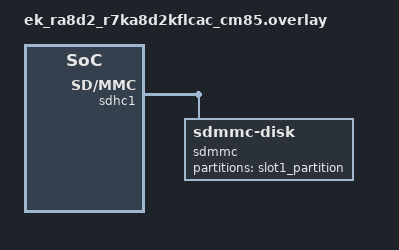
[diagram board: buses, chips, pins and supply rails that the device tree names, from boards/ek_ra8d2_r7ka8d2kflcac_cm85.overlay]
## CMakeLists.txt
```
# SPDX-License-Identifier: Apache-2.0

cmake_minimum_required(VERSION 3.20.0)
find_package(Zephyr REQUIRED HINTS $ENV{ZEPHYR_BASE})
project(ext2tests)

FILE(GLOB app_sources src/*.c)
FILE(GLOB common_sources
  ../common/test_fs_util.c
  ../common/test_fs_mkfs.c
  ../common/test_fs_basic.c
  ../common/test_fs_dirops.c
  ../common/test_fs_open_flags.c
  ../common/test_fs_mount_flags.c
)
target_sources(app PRIVATE
  ${app_sources}
  ${common_sources}
)
```

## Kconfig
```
# SPDX-License-Identifier: Apache-2.0
# Copyright (c) 2023 Antmicro

mainmenu "Ext2 tests"

source "Kconfig.zephyr"

config APP_TEST_BIG
	bool "Make tests with larger file systems"
```

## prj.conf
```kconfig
CONFIG_FILE_SYSTEM=y
CONFIG_FILE_SYSTEM_EXT2=y
CONFIG_FILE_SYSTEM_MKFS=y
CONFIG_FS_DIRENT_EXT=y

CONFIG_DISK_ACCESS=y

CONFIG_TEST_RANDOM_GENERATOR=y

CONFIG_ZTEST=y
CONFIG_ZTEST_STACK_SIZE=4096
```

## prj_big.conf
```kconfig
CONFIG_FILE_SYSTEM=y
CONFIG_FILE_SYSTEM_EXT2=y
CONFIG_FILE_SYSTEM_MKFS=y
CONFIG_FS_DIRENT_EXT=y

CONFIG_DISK_ACCESS=y

CONFIG_EXT2_MAX_BLOCK_COUNT=20

CONFIG_TEST_RANDOM_GENERATOR=y

CONFIG_ZTEST=y
CONFIG_ZTEST_STACK_SIZE=4096

CONFIG_APP_TEST_BIG=y
```

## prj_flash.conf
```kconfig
CONFIG_FILE_SYSTEM=y
CONFIG_FILE_SYSTEM_EXT2=y
CONFIG_FILE_SYSTEM_MKFS=y

CONFIG_DISK_ACCESS=y

CONFIG_TEST_RANDOM_GENERATOR=y

CONFIG_ZTEST=y
CONFIG_ZTEST_STACK_SIZE=4096
```

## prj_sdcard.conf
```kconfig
CONFIG_FILE_SYSTEM=y
CONFIG_FILE_SYSTEM_EXT2=y
CONFIG_FILE_SYSTEM_MKFS=y

CONFIG_SPI=y

CONFIG_DISK_ACCESS=y

CONFIG_EXT2_DISK_STARTING_SECTOR=34

CONFIG_TEST_RANDOM_GENERATOR=y

CONFIG_ZTEST=y
CONFIG_ZTEST_STACK_SIZE=4096
```

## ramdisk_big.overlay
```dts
/*
 * Copyright (c) 2023 Nordic Semiconductor ASA
 *
 * SPDX-License-Identifier: Apache-2.0
 */

/ {
	ramdisk0 {
		compatible = "zephyr,ram-disk";
		disk-name = "RAM";
		sector-size = <512>;
		sector-count = <18000>;
	};
};
```

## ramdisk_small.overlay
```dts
/*
 * Copyright (c) 2023 Nordic Semiconductor ASA
 *
 * SPDX-License-Identifier: Apache-2.0
 */

/ {
	ramdisk0 {
		compatible = "zephyr,ram-disk";
		disk-name = "RAM";
		sector-size = <512>;
		sector-count = <220>;
	};
};
```

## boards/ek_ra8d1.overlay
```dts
/*
 * Copyright (c) 2024 Renesas Electronics Corporation
 * SPDX-License-Identifier: Apache-2.0
 */

&sdhc1 {
	sdmmc {
		partition {
			compatible = "fixed-partitions";
			#address-cells = <1>;
			#size_cells = <1>;

			slot1_partition: partition@0 {
				reg = <0x00000000 0x800000>;
			};
		};
	};
};
```

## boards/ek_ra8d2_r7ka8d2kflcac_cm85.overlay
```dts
/*
 * Copyright (c) 2025 Renesas Electronics Corporation
 * SPDX-License-Identifier: Apache-2.0
 */

&pinctrl {
	sdhc1_default: sdhc1_default {
		group1 {
			psels = <RA_PSEL(RA_PSEL_SDHI, 4, 6)>, /* SDCD */
				<RA_PSEL(RA_PSEL_SDHI, 4, 1)>, /* SDCMD */
				<RA_PSEL(RA_PSEL_SDHI, 4, 2)>, /* SDDATA0 */
				<RA_PSEL(RA_PSEL_SDHI, 4, 3)>, /* SDDATA1 */
				<RA_PSEL(RA_PSEL_SDHI, 4, 4)>, /* SDDATA2 */
				<RA_PSEL(RA_PSEL_SDHI, 4, 5)>, /* SDDATA3 */
				<RA_PSEL(RA_PSEL_SDHI, 7, 0)>; /* SDWP */
			drive-strength = "high";
		};

		group2 {
			psels = <RA_PSEL(RA_PSEL_SDHI, 4, 0)>; /* SDCLK */
			drive-strength = "highspeed-high";
		};
	};
};

&sdhc1 {
	pinctrl-0 = <&sdhc1_default>;
	pinctrl-names = "default";
	interrupt-names = "accs", "card", "dma-req";
	interrupts = <95 1>, <94 1>, <93 1>;
	status = "okay";

	sdmmc {
		compatible = "zephyr,sdmmc-disk";
		disk-name = "SD";
		status = "okay";

		partition {
			compatible = "fixed-partitions";
			#address-cells = <1>;
			#size_cells = <1>;

			slot1_partition: partition@0 {
				reg = <0x00000000 0x800000>;
			};
		};
	};
};
```

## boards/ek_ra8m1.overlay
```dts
/*
 * Copyright (c) 2024 Renesas Electronics Corporation
 * SPDX-License-Identifier: Apache-2.0
 */

&sdhc0 {
	interrupt-names = "accs", "card", "dma-req";
	interrupts = <94 12>, <95 12>, <96 12>;
	status = "okay";

	sdmmc {
		partition {
			compatible = "fixed-partitions";
			#address-cells = <1>;
			#size_cells = <1>;
			slot1_partition: partition@0 {
				reg = <0x00000000 0x800000>;
			};
		};
	};
};
```

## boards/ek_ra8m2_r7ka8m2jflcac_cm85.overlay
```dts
/*
 * Copyright (c) 2025 Renesas Electronics Corporation
 * SPDX-License-Identifier: Apache-2.0
 */

&pinctrl {
	sdhc1_default: sdhc1_default {
		group1 {
			psels = <RA_PSEL(RA_PSEL_SDHI, 2, 5)>, /* SDCD */
				<RA_PSEL(RA_PSEL_SDHI, 2, 2)>, /* SDCMD */
				<RA_PSEL(RA_PSEL_SDHI, 3, 13)>, /* SDDATA0 */
				<RA_PSEL(RA_PSEL_SDHI, 3, 14)>, /* SDDATA1 */
				<RA_PSEL(RA_PSEL_SDHI, 4, 4)>, /* SDDATA2 */
				<RA_PSEL(RA_PSEL_SDHI, 8, 11)>, /* SDDATA3 */
				<RA_PSEL(RA_PSEL_SDHI, 2, 4)>; /* SDWP */
			drive-strength = "high";
		};

		group2 {
			psels = <RA_PSEL(RA_PSEL_SDHI, 2, 3)>; /* SDCLK */
			drive-strength = "highspeed-high";
		};
	};
};

&sdhc1 {
	pinctrl-0 = <&sdhc1_default>;
	pinctrl-names = "default";
	interrupt-names = "accs", "card", "dma-req";
	interrupts = <95 1>, <94 1>, <93 1>;
	status = "okay";

	sdmmc {
		compatible = "zephyr,sdmmc-disk";
		disk-name = "SD";
		status = "okay";
	};
};
```

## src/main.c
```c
/*
 * Copyright (c) 2023 Antmicro
 *
 * SPDX-License-Identifier: Apache-2.0
 */

#include <zephyr/ztest.h>
#include <zephyr/fs/fs.h>

#include "utils.h"

#ifdef CONFIG_DISK_DRIVER_RAM
	#define STORAGE_DEVICE "RAM"
#elif CONFIG_DISK_DRIVER_FLASH
	#define STORAGE_DEVICE "NAND"
#elif CONFIG_DISK_DRIVER_SDMMC
	#define STORAGE_DEVICE "SD"
#endif

/* All tests must use this structure to mount file system. After each test this structure is cleaned
 * to allow for running next tests unaffected by previous one.
 */
struct fs_mount_t testfs_mnt = {
	.type = FS_EXT2,
	.mnt_point = "/sml",
	.storage_dev = STORAGE_DEVICE,
	.flags = 0,
};

static void before_test(void *f)
{
	ARG_UNUSED(f);

	zassert_equal(wipe_partition((uintptr_t)testfs_mnt.storage_dev), TC_PASS,
			"Failed to clean partition");
	testfs_mnt.flags = 0;
}

static void after_test(void *f)
{
	ARG_UNUSED(f);

	/* Unmount file system */
	fs_unmount(&testfs_mnt);
}

ZTEST_SUITE(ext2tests, NULL, NULL, before_test, after_test, NULL);
```

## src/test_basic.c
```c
/*
 * Copyright (c) 2023 Antmicro
 *
 * SPDX-License-Identifier: Apache-2.0
 */

#include <zephyr/ztest.h>
#include <zephyr/fs/fs.h>

#include "utils.h"

void test_fs_basic(void);

/* Expected by test_fs_basic() */
struct fs_mount_t *fs_basic_test_mp = &testfs_mnt;

ZTEST(ext2tests, test_basic)
{
	/* Common basic tests.
	 * (File system is mounted and unmounted during that test.)
	 */
	test_fs_basic();
}
```

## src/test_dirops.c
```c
/*
 * Copyright (c) 2023 Antmicro
 *
 * SPDX-License-Identifier: Apache-2.0
 */

#include <zephyr/ztest.h>
#include <zephyr/fs/fs.h>

#include "utils.h"

void test_fs_dirops(void);

/* Mount structure needed by test_fs_basic tests. */
struct fs_mount_t *fs_dirops_test_mp = &testfs_mnt;

ZTEST(ext2tests, test_dirops)
{
	struct fs_mount_t *mp = &testfs_mnt;
	struct fs_dirent de;

	zassert_equal(fs_mount(mp), 0, "Mount failed");

	/* 'lost+found' directory is created automatically. test_fs_dirops expects empty root
	 * directory hence we have to remove it before starting test.
	 */
	if (fs_stat("/sml/lost+found", &de) == 0) {
		zassert_equal(fs_unlink("/sml/lost+found"), 0, "unlink failed");
	}
	zassert_equal(fs_unmount(mp), 0, "Unount failed");

	/* Common dirops tests.
	 * (File system is mounted and unmounted during that test.)
	 */
	test_fs_dirops();
}
```

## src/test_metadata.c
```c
/*
 * Copyright (c) 2026 Dhruv Menon <dhruvmenon1104@gmail.com>
 *
 * SPDX-License-Identifier: Apache-2.0
 */

#include <string.h>
#include <zephyr/ztest.h>
#include <zephyr/fs/fs.h>
#include <zephyr/fs/ext2.h>

#include "utils.h"

/* 1024-byte blocks, 200-byte names -> 208-byte dirents, 4 entries per block.
 * Block 0 also holds "." and "..", so it still fits 4 files.
 * Direct blocks cover files 0..47; the first indirect block starts at 48.
 */
#define DIR_NAME_LEN    200
#define NFILES          56
#define INDIRECT_FIRST  48
#define INDIRECT_LAST   51
#define SURVIVOR        52

static int create_file(const char *path)
{
	struct fs_file_t file;
	int rc;

	fs_file_t_init(&file);
	rc = fs_open(&file, path, FS_O_CREATE);
	if (rc < 0) {
		return rc;
	}
	return fs_close(&file);
}

static void make_dir_path(char *buf, size_t buflen, unsigned int n)
{
	char name[DIR_NAME_LEN + 1];
	int len;

	len = snprintk(name, sizeof(name), "f%03u", n);
	memset(name + len, 'x', DIR_NAME_LEN - len);
	name[DIR_NAME_LEN] = '\0';
	snprintk(buf, buflen, "/sml/d/%s", name);
}

ZTEST(ext2tests, test_root_dot_unlink_rename)
{
	struct fs_mount_t *mp = &testfs_mnt;
	struct fs_dirent stat;

	zassert_equal(fs_mount(mp), 0, "Mount failed");

	zassert_equal(fs_rename("/sml", "/sml/moved"), -EINVAL,
			"renaming the filesystem root must fail");
	zassert_equal(fs_unlink("/sml"), -EINVAL, "unlinking the filesystem root must fail");
	zassert_equal(fs_unlink("/sml/."), -EINVAL, "unlink \".\" must fail");
	zassert_equal(fs_unlink("/sml/.."), -EINVAL, "unlink \"..\" must fail");

	zassert_equal(fs_mkdir("/sml/dir"), 0, "mkdir failed");
	zassert_equal(fs_unlink("/sml/dir/."), -EINVAL, "unlink dir/\".\" must fail");
	zassert_equal(fs_unlink("/sml/dir/.."), -EINVAL, "unlink dir/\"..\" must fail");
	zassert_equal(fs_rename("/sml/dir", "/sml/."), -EINVAL,
			"rename onto \".\" must fail");
	zassert_equal(fs_rename("/sml/dir/.", "/sml/x"), -EINVAL,
			"rename of \".\" must fail");

	zassert_equal(fs_stat("/sml/dir", &stat), 0, "directory should still exist");
	zassert_equal(fs_unmount(mp), 0, "Unmount failed");
}

ZTEST(ext2tests, test_indirect_dir_unlink)
{
	struct fs_mount_t *mp = &testfs_mnt;
	/* 128 KiB stays in one block group on the 128 MiB flash and 9 MiB
	 * ramdisk variants. fs_size=0 uses the whole device and mkfs then
	 * returns -ENOTSUP. Dense inodes also need a small volume so
	 * s_inodes_count fits in one bitmap block.
	 */
	struct ext2_cfg cfg = {
		.block_size = 1024,
		.fs_size = 0x20000,
		.bytes_per_inode = 128,
		.volume_name = {'e', 'x', 't', '2', '\0'},
		.set_uuid = false,
	};
	char path[256];
	struct fs_dirent stat;
	int rc;

	zassert_equal(fs_mkfs(FS_EXT2, (uintptr_t)mp->storage_dev, &cfg, 0), 0,
			"mkfs failed");

	/*
	 * Test plan: grow a directory past the direct blocks, unlink every
	 * entry in the first indirect directory block, remount, and check that
	 * a later survivor entry is still present. That catches corruption of
	 * the indirect pointer / i_size on directory-block removal.
	 */
	mp->flags = FS_MOUNT_FLAG_NO_FORMAT;
	zassert_equal(fs_mount(mp), 0, "Mount failed");
	zassert_equal(fs_mkdir("/sml/d"), 0, "mkdir /sml/d failed");

	/* Fill direct blocks (0..47) and start the first indirect block. */
	for (unsigned int i = 0; i < NFILES; i++) {
		make_dir_path(path, sizeof(path), i);
		rc = create_file(path);
		zassert_equal(rc, 0, "create %u failed: %d", i, rc);
	}

	make_dir_path(path, sizeof(path), SURVIVOR);
	zassert_equal(fs_stat(path, &stat), 0, "survivor must exist before unlink");

	/* Empty the first indirect block (49..51, then 48). */
	for (unsigned int i = INDIRECT_FIRST + 1; i <= INDIRECT_LAST; i++) {
		make_dir_path(path, sizeof(path), i);
		rc = fs_unlink(path);
		zassert_equal(rc, 0, "unlink %u failed: %d", i, rc);
	}

	make_dir_path(path, sizeof(path), INDIRECT_FIRST);
	rc = fs_unlink(path);
	zassert_equal(rc, 0, "unlink of first indirect entry failed: %d", rc);

	/* Remount and confirm the survivor survived the unlinks. */
	zassert_equal(fs_unmount(mp), 0, "unmount failed");
	mp->flags = FS_MOUNT_FLAG_NO_FORMAT;
	zassert_equal(fs_mount(mp), 0, "remount failed");

	make_dir_path(path, sizeof(path), SURVIVOR);
	rc = fs_stat(path, &stat);
	zassert_equal(rc, 0, "survivor stat failed after unlink: %d", rc);

	zassert_equal(fs_unmount(mp), 0, "final unmount failed");
}
```

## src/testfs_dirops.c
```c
/*
 * Copyright (c) 2023 Antmicro
 *
 * SPDX-License-Identifier: Apache-2.0
 */

#include <zephyr/ztest.h>
#include <zephyr/fs/fs.h>

#include "utils.h"

ZTEST(ext2tests, test_dirops_basic)
{
	struct fs_mount_t *mp = &testfs_mnt;

	zassert_equal(fs_mount(mp), 0, "Mount failed");

	struct fs_file_t file;
	struct fs_dirent stat;

	fs_file_t_init(&file);

	/* Create some directories */
	zassert_equal(fs_mkdir("/sml/dir1"), 0, "Create dir1 failed");
	zassert_equal(fs_mkdir("/sml/dir2"), 0, "Create dir2 failed");

	/* Create some files */
	zassert_equal(fs_open(&file, "/sml/file1", FS_O_CREATE), 0, "Create file1 failed");
	zassert_equal(fs_close(&file), 0, "Close file error");
	zassert_equal(fs_open(&file, "/sml/dir1/file2", FS_O_CREATE), 0, "Create file2 failed");
	zassert_equal(fs_close(&file), 0, "Close file error");
	zassert_equal(fs_open(&file, "/sml/dir2/file3", FS_O_CREATE), 0, "Create file3 failed");
	zassert_equal(fs_close(&file), 0, "Close file error");

	/* Check if directories will open as files */
	zassert_equal(fs_open(&file, "/sml/dir1", 0), -EINVAL, "Should return error");
	zassert_equal(fs_open(&file, "/sml/dir2", 0), -EINVAL, "Should return error");

	/* Check directories with stat */
	zassert_equal(fs_stat("/sml/dir1", &stat), 0, "Stat dir1 failed");
	zassert_equal(stat.type, FS_DIR_ENTRY_DIR, "Wrong type");
	zassert_equal(stat.size, 0, "Wrong directory size");
	zassert_mem_equal(stat.name, "dir1", 5, "Wrong directory name");

	zassert_equal(fs_stat("/sml/dir2", &stat), 0, "Stat dir2 failed");
	zassert_equal(stat.type, FS_DIR_ENTRY_DIR, "Wrong type");
	zassert_equal(stat.size, 0, "Wrong directory size");
	zassert_mem_equal(stat.name, "dir2", 5, "Wrong directory name");

	/* Check if files will open correctly */
	zassert_equal(fs_open(&file, "/sml/file1", 0), 0, "Open file1 should succeed");
	zassert_equal(fs_close(&file), 0, "Close file error");
	zassert_equal(fs_open(&file, "/sml/dir1/file2", 0), 0, "Open file2 should succeed");
	zassert_equal(fs_close(&file), 0, "Close file error");
	zassert_equal(fs_open(&file, "/sml/dir2/file3", 0), 0, "Open file3 should succeed");
	zassert_equal(fs_close(&file), 0, "Close file error");

	/* Check files with stat */
	zassert_equal(fs_stat("/sml/file1", &stat), 0, "Stat file1 failed");
	zassert_equal(stat.type, FS_DIR_ENTRY_FILE, "Wrong type");
	zassert_equal(stat.size, 0, "Wrong file size");
	zassert_mem_equal(stat.name, "file1", 6, "Wrong file name");

	zassert_equal(fs_stat("/sml/dir1/file2", &stat), 0, "Stat file1 failed");
	zassert_equal(stat.type, FS_DIR_ENTRY_FILE, "Wrong type");
	zassert_equal(stat.size, 0, "Wrong file size");
	zassert_mem_equal(stat.name, "file2", 6, "Wrong file name");

	zassert_equal(fs_stat("/sml/dir2/file3", &stat), 0, "Stat file1 failed");
	zassert_equal(stat.type, FS_DIR_ENTRY_FILE, "Wrong type");
	zassert_equal(stat.size, 0, "Wrong file size");
	zassert_mem_equal(stat.name, "file3", 6, "Wrong file name");

	/* Check for some nonexisting files */
	zassert_equal(fs_open(&file, "/sml/file2", 0), -ENOENT, "Should not exist");
	zassert_equal(fs_open(&file, "/sml/file3", 0), -ENOENT, "Should not exist");
	zassert_equal(fs_open(&file, "/sml/dir1/file1", 0), -ENOENT, "Should not exist");
	zassert_equal(fs_open(&file, "/sml/dir1/file3", 0), -ENOENT, "Should not exist");
	zassert_equal(fs_open(&file, "/sml/dir2/file1", 0), -ENOENT, "Should not exist");
	zassert_equal(fs_open(&file, "/sml/dir2/file2", 0), -ENOENT, "Should not exist");

	zassert_equal(fs_unmount(mp), 0, "Unmount failed");
}
```

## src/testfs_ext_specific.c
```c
/*
 * Copyright (c) 2023 Antmicro
 *
 * SPDX-License-Identifier: Apache-2.0
 */

#include <zephyr/ztest.h>
#include <zephyr/fs/fs.h>
#include <zephyr/fs/ext2.h>
#include "utils.h"
#include "../../common/test_fs_util.h"

uint32_t calculate_blocks(uint32_t freeb, uint32_t B)
{
	uint32_t blocks = 0;

	if (freeb <= 12) {
		return freeb;
	}

	blocks += 12;
	freeb -= 12 + 1; /* direct blocks + top block of first level table */

	if (freeb <= B) {
		return blocks + freeb;
	}

	blocks += B;
	freeb -= B + 1; /* 1st level blocks + top block of second level table */

	if (freeb <= B * (B + 1)) {
		uint32_t n = freeb / (B + 1);
		uint32_t r = freeb % (B + 1);
		uint32_t partial = r > 0 ? 1 : 0;

		return blocks + n * B + r - partial;
	}
	return blocks;
	/* TODO: revisit this and extend when 3rd level blocks will be possible */
}

static void write_to_file(const char *file_path, uint32_t bytes_to_write)
{
	int ret = 0;
	struct fs_file_t file;
	struct fs_dirent entry;

	fs_file_t_init(&file);
	ret = fs_open(&file, file_path, FS_O_RDWR | FS_O_CREATE);
	zassert_equal(ret, 0, "File open failed (ret=%d)", ret);

	ret = testfs_write_incrementing(&file, 0, bytes_to_write);
	zassert_equal(ret, bytes_to_write, "Different number of bytes written %d (expected %d)",
			ret, bytes_to_write);

	ret = fs_close(&file);
	zassert_equal(ret, 0, "File close failed (ret=%d)", ret);


	/* Check file size */
	ret = fs_stat(file_path, &entry);
	zassert_equal(ret, 0, "File stat failed (ret=%d)", ret);
	zassert_equal(entry.size, bytes_to_write,
			"Wrong file size %d (expected %d)", entry.size,
			bytes_to_write);

	fs_file_t_init(&file);
	ret = fs_open(&file, file_path, FS_O_READ);
	zassert_equal(ret, 0, "File open failed (ret=%d)", ret);


	ret = testfs_verify_incrementing(&file, 0, bytes_to_write);
	zassert_equal(ret, bytes_to_write, "Different number of bytes read %d (expected %d)",
			ret, bytes_to_write);

	ret = fs_close(&file);
	zassert_equal(ret, 0, "File close failed (ret=%d)", ret);
}

static void truncate_file(const char *file_path, uint32_t new_size)
{
	int ret = 0;
	struct fs_file_t file;
	struct fs_dirent entry;

	fs_file_t_init(&file);

	TC_PRINT("Truncating to %d\n", new_size);

	ret = fs_open(&file, file_path, FS_O_RDWR);
	zassert_equal(ret, 0, "File open failed (ret=%d)", ret);

	ret = fs_truncate(&file, new_size);
	zassert_equal(ret, 0, "File truncate failed (ret=%d)", ret);

	ret = fs_stat(file_path, &entry);
	zassert_equal(ret, 0, "File stat failed (ret=%d)", ret);
	zassert_equal(entry.size, new_size,
			"Wrong file size %d (expected %d)", entry.size, new_size);

	ret = fs_seek(&file, 0, FS_SEEK_SET);
	zassert_equal(ret, 0, "File seek failed (ret=%d)", ret);

	ret = testfs_verify_incrementing(&file, 0, new_size);
	zassert_equal(ret, new_size, "Different number of bytes read %d (expected %d)",
			ret, new_size);

	ret = fs_close(&file);
	zassert_equal(ret, 0, "File close failed (ret=%d)", ret);
}

void writing_test(struct ext2_cfg *config)
{
	int ret = 0;
	struct fs_statvfs sbuf;
	struct fs_mount_t *mp = &testfs_mnt;
	static const char *file_path = "/sml/file";

	ret = fs_mkfs(FS_EXT2, (uintptr_t)mp->storage_dev, config, 0);
	zassert_equal(ret, 0, "Failed to mkfs with 2K blocks");

	mp->flags = FS_MOUNT_FLAG_NO_FORMAT;
	ret = fs_mount(mp);
	zassert_equal(ret, 0, "Mount failed (ret=%d)", ret);

	ret = fs_statvfs(mp->mnt_point, &sbuf);
	zassert_equal(ret, 0, "Expected success (ret=%d)", ret);

	/* Calculate how many numbers will be written (use all available memory) */
	uint32_t freeb = sbuf.f_bfree;
	uint32_t bsize = sbuf.f_bsize;
	uint32_t available_blocks = calculate_blocks(freeb, bsize / sizeof(uint32_t));

	uint32_t bytes_to_write = bsize * available_blocks;

	TC_PRINT("Available blocks: %d\nBlock size: %d\nBytes_to_write: %d\n",
			available_blocks, bsize, bytes_to_write);

	write_to_file(file_path, bytes_to_write);

	uint32_t new_size = bytes_to_write;

	while (new_size > 1) {
		new_size = new_size / 8 * 3;
		truncate_file(file_path, new_size);
	}

	ret = fs_unmount(mp);
	zassert_equal(ret, 0, "Unmount failed (ret=%d)", ret);
}

ZTEST(ext2tests, test_indirect_block_removal)
{
	int ret = 0;
	struct fs_statvfs sbuf;
	struct fs_mount_t *mp = &testfs_mnt;
	static const char *file_path = "/sml/file";

	ret = fs_mkfs(FS_EXT2, (uintptr_t)mp->storage_dev, NULL, 0);
	zassert_equal(ret, 0, "Failed to mkfs with 2K blocks");

	mp->flags = FS_MOUNT_FLAG_NO_FORMAT;
	ret = fs_mount(mp);
	zassert_equal(ret, 0, "Mount failed (ret=%d)", ret);

	ret = fs_statvfs(mp->mnt_point, &sbuf);
	zassert_equal(ret, 0, "Expected success (ret=%d)", ret);

	uint32_t bsize = sbuf.f_bsize;

	uint32_t bytes_to_write = bsize * 13;

	TC_PRINT("Block size: %d\nBytes_to_write: %d\n", bsize, bytes_to_write);

	write_to_file(file_path, bytes_to_write);

	/* First truncate will remove all blocks under first indirect block.
	 * Second truncate will remove rest of blocks;
	 * it will check if first indirect block was removed properly.
	 */
	uint32_t sizes[] = {12 * bsize, 0};

	for (int i = 0; i < ARRAY_SIZE(sizes); i++) {
		uint32_t new_size = sizes[i];

		truncate_file(file_path, new_size);
	}

	ret = fs_unmount(mp);
	zassert_equal(ret, 0, "Unmount failed (ret=%d)", ret);
}

ZTEST(ext2tests, test_write_big_file)
{
	writing_test(NULL);
}

#if defined(CONFIG_APP_TEST_BIG)
ZTEST(ext2tests, test_write_big_file_2K)
{
	struct ext2_cfg config = {
		.block_size = 2048,
		.fs_size = 0x2000000,
		.bytes_per_inode = 0,
		.volume_name[0] = 0,
		.set_uuid = false,
	};

	writing_test(&config);
}

ZTEST(ext2tests, test_write_big_file_4K)
{
	struct ext2_cfg config = {
		.block_size = 4096,
		.fs_size = 0x8000000,
		.bytes_per_inode = 0,
		.volume_name[0] = 0,
		.set_uuid = false,
	};

	writing_test(&config);
}
#endif
```

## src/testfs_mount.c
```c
/*
 * Copyright (c) 2023 Antmicro
 *
 * SPDX-License-Identifier: Apache-2.0
 */

#include <zephyr/ztest.h>
#include <zephyr/fs/fs.h>
#include <zephyr/fs/ext2.h>
#include "utils.h"

ZTEST(ext2tests, test_mount_only)
{
	struct fs_mount_t *mp = &testfs_mnt;
	int ret = 0;

	/* Test FS_MOUNT_FLAG_NO_FORMAT flag */
	mp->flags |= FS_MOUNT_FLAG_NO_FORMAT;
	ret = fs_mount(mp);
	TC_PRINT("Mount unformatted with FS_MOUNT_FLAG_NO_FORMAT set\n");
	zassert_false(ret == 0, "Expected failure (ret=%d)", ret);

	/* Test FS_MOUNT_FLAG_READ_ONLY on non-formatted volume*/
	mp->flags = FS_MOUNT_FLAG_READ_ONLY;
	ret = fs_mount(mp);
	TC_PRINT("Mount unformatted with FS_MOUNT_FLAG_READ_ONLY set\n");
	zassert_false(ret == 0, "Expected failure (ret=%d)", ret);

	/* Format volume and add some files/dirs to check read-only flag */
	mp->flags = 0;
	ret = fs_mount(mp);
	TC_PRINT("Mount again to format volume\n");
	zassert_equal(ret, 0, "Expected success (ret=%d)", ret);
	TC_PRINT("Create some file\n");

	ret = fs_unmount(mp);
	zassert_equal(ret, 0, "Expected success (ret=%d)", ret);

	/* Check fs operation on volume mounted with FS_MOUNT_FLAG_READ_ONLY */
	mp->flags = FS_MOUNT_FLAG_READ_ONLY;
	TC_PRINT("Mount as read-only\n");
	ret = fs_mount(mp);
	zassert_equal(ret, 0, "Expected success (ret=%d)", ret);

	ret = fs_unmount(mp);
	zassert_equal(ret, 0, "Expected success (ret=%d)", ret);
}

ZTEST(ext2tests, test_statvfs)
{
	int ret = 0;
	struct fs_statvfs sbuf;
	struct fs_mount_t *mp = &testfs_mnt;
	size_t partition_size = MIN(0x800000, get_partition_size((uintptr_t)mp->storage_dev));

	mp->flags = 0;
	ret = fs_mount(mp);
	zassert_equal(ret, 0, "Expected success (ret=%d)", ret);

	ret = fs_statvfs(mp->mnt_point, &sbuf);
	zassert_equal(ret, 0, "Expected success (ret=%d)", ret);

	TC_PRINT("Mounted file system: bsize:%lu frsize:%lu blocks:%lu, bfree:%lu\n",
			sbuf.f_bsize, sbuf.f_frsize, sbuf.f_blocks, sbuf.f_bfree);

	zassert_equal(sbuf.f_bsize, 1024,
			"Wrong block size %lu (expected %d)", sbuf.f_bsize, 1024);
	zassert_equal(sbuf.f_frsize, 1024,
			"Wrong frag size %lu (expected %d)", sbuf.f_frsize, 1024);
	zassert_equal(sbuf.f_blocks, partition_size / 1024,
			"Wrong block count %lu (expected %zu)",
			sbuf.f_blocks, partition_size / 1024);

	ret = fs_unmount(mp);
	zassert_equal(ret, 0, "Expected success (ret=%d)", ret);
}

/* Tests from common directory */

void test_fs_mkfs_simple(void);

/* Global variables expected by tests */
struct fs_mount_t *fs_mkfs_mp = &testfs_mnt;
const int fs_mkfs_type = FS_EXT2;
uintptr_t fs_mkfs_dev_id;
int fs_mkfs_flags;

ZTEST(ext2tests, test_mkfs_simple)
{
	struct fs_mount_t *mp = &testfs_mnt;

	fs_mkfs_dev_id = (uintptr_t) mp->storage_dev;
	fs_mkfs_flags = 0;
	test_fs_mkfs_simple();
}

void mkfs_custom_config(struct ext2_cfg *cfg)
{
	int ret = 0;
	struct fs_statvfs sbuf;
	struct fs_mount_t *mp = &testfs_mnt;
	size_t partition_size = MIN(cfg->fs_size, get_partition_size((uintptr_t)mp->storage_dev));

	ret = fs_mkfs(FS_EXT2, (uintptr_t)mp->storage_dev, cfg, 0);
	zassert_equal(ret, 0, "Failed to mkfs with 2K blocks");

	mp->flags = FS_MOUNT_FLAG_NO_FORMAT;
	ret = fs_mount(mp);
	zassert_equal(ret, 0, "Mount failed (ret=%d)", ret);

	ret = fs_statvfs(mp->mnt_point, &sbuf);
	zassert_equal(ret, 0, "Statvfs failed (ret=%d)", ret);

	TC_PRINT("Mounted file system: bsize:%lu frsize:%lu blocks:%lu, bfree:%lu\n",
			sbuf.f_bsize, sbuf.f_frsize, sbuf.f_blocks, sbuf.f_bfree);

	zassert_equal(sbuf.f_bsize, cfg->block_size,
			"Wrong block size %lu (expected %u)", sbuf.f_bsize, cfg->block_size);
	zassert_equal(sbuf.f_frsize, cfg->block_size,
			"Wrong frag size %lu (expected %u)", sbuf.f_frsize, cfg->block_size);
	zassert_equal(sbuf.f_blocks, partition_size / cfg->block_size,
			"Wrong block count %lu (expected %zu)",
			sbuf.f_blocks, partition_size / cfg->block_size);

	ret = fs_unmount(mp);
	zassert_equal(ret, 0, "Unmount failed (ret=%d)", ret);
}

#if defined(CONFIG_APP_TEST_BIG)
ZTEST(ext2tests, test_mkfs_custom_2K)
{
	struct ext2_cfg config = {
		.block_size = 2048,
		.fs_size = 0x2000000,
		.bytes_per_inode = 0,
		.volume_name[0] = 0,
		.set_uuid = false,
	};

	mkfs_custom_config(&config);
}

ZTEST(ext2tests, test_mkfs_custom_4K)
{
	struct ext2_cfg config = {
		.block_size = 4096,
		.fs_size = 0x8000000,
		.bytes_per_inode = 0,
		.volume_name[0] = 0,
		.set_uuid = false,
	};

	mkfs_custom_config(&config);
}
#endif
```

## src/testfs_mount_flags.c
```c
/*
 * Copyright (c) 2023 Antmicro
 *
 * SPDX-License-Identifier: Apache-2.0
 */

#include <zephyr/ztest.h>
#include <zephyr/fs/fs.h>
#include <zephyr/fs/ext2.h>

#include "utils.h"

void test_fs_mount_flags(void);

/* Global variable expected by tests */
struct fs_mount_t *mount_flags_mp = &testfs_mnt;

ZTEST(ext2tests, test_mount_flags)
{
	test_fs_mount_flags();
}
```

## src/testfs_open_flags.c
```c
/*
 * Copyright (c) 2023 Antmicro
 *
 * SPDX-License-Identifier: Apache-2.0
 */

#include <zephyr/ztest.h>
#include <zephyr/fs/fs.h>
#include <zephyr/fs/ext2.h>

#include "utils.h"

void test_fs_open_flags(void);

/* Expected by test_fs_open_flags() */
const char *test_fs_open_flags_file_path = "/sml/open_flags_file";

ZTEST(ext2tests, test_open_flags)
{
	struct fs_mount_t *mp = &testfs_mnt;

	zassert_equal(fs_mount(mp), 0, "Failed to mount partition");

	test_fs_open_flags();

	zassert_equal(fs_unmount(mp), 0, "Failed to unmount partition");
}

ZTEST(ext2tests, test_open_flags_2K)
{
	int ret = 0;
	struct fs_mount_t *mp = &testfs_mnt;
	struct ext2_cfg ext2_config = {
		.block_size = 2048,
		.fs_size = 0x2000000,
		.bytes_per_inode = 0,
		.volume_name[0] = 0,
		.set_uuid = false,
	};

	ret = fs_mkfs(FS_EXT2, (uintptr_t)mp->storage_dev, &ext2_config, 0);
	zassert_equal(ret, 0, "Failed to mkfs with 2K blocks");

	mp->flags = FS_MOUNT_FLAG_NO_FORMAT;
	zassert_equal(fs_mount(mp), 0, "Failed to mount partition");

	test_fs_open_flags();

	zassert_equal(fs_unmount(mp), 0, "Failed to unmount partition");
}

#if defined(CONFIG_APP_TEST_BIG)
ZTEST(ext2tests, test_open_flags_4K)
{
	int ret = 0;
	struct fs_mount_t *mp = &testfs_mnt;
	struct ext2_cfg ext2_config = {
		.block_size = 4096,
		.fs_size = 0x8000000,
		.bytes_per_inode = 0,
		.volume_name[0] = 0,
		.set_uuid = false,
	};

	ret = fs_mkfs(FS_EXT2, (uintptr_t)mp->storage_dev, &ext2_config, 0);
	zassert_equal(ret, 0, "Failed to mkfs with 2K blocks");

	mp->flags = FS_MOUNT_FLAG_NO_FORMAT;
	zassert_equal(fs_mount(mp), 0, "Failed to mount partition");

	test_fs_open_flags();

	zassert_equal(fs_unmount(mp), 0, "Failed to unmount partition");
}
#endif
```

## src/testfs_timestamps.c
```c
/*
 * SPDX-FileCopyrightText: Copyright The Zephyr Project Contributors
 * SPDX-License-Identifier: Apache-2.0
 */

#include <string.h>

#include <zephyr/fs/fs.h>
#include <zephyr/sys/clock.h>
#include <zephyr/ztest.h>

#include "utils.h"

#define TS_FILE "/sml/stamped.txt"
#define TS_DIR  "/sml/stamped.d"

#ifdef CONFIG_FS_DIRENT_EXT
static void set_clock(time_t sec)
{
	struct timespec ts = {.tv_sec = sec};

	zassert_ok(sys_clock_settime(SYS_CLOCK_REALTIME, &ts));
}

static void stat_times(const char *path, struct timespec *atime, struct timespec *mtime)
{
	struct fs_dirent ent;

	zassert_ok(fs_stat(path, &ent), "stat %s", path);
	*atime = ent.atime;
	*mtime = ent.mtime;
}
#endif /* CONFIG_FS_DIRENT_EXT */

ZTEST(ext2tests, test_timestamps)
{
#ifdef CONFIG_FS_DIRENT_EXT
	const time_t t0 = 1700000000;
	const struct timespec times[2] = {
		{.tv_sec = 1600000000},
		{.tv_sec = 1600000100},
	};
	struct fs_file_t file;
	struct fs_dir_t dir;
	struct fs_dirent ent;
	struct timespec atime, mtime;
	bool seen = false;

	zassert_ok(fs_mount(&testfs_mnt));

	/* creation stamps the new inode with the current time */
	set_clock(t0);
	fs_file_t_init(&file);
	zassert_ok(fs_open(&file, TS_FILE, FS_O_CREATE | FS_O_RDWR));
	stat_times(TS_FILE, &atime, &mtime);
	zassert_true(atime.tv_sec >= t0 && atime.tv_sec < t0 + 60, "atime %lld", (long long)atime.tv_sec);
	zassert_true(mtime.tv_sec >= t0 && mtime.tv_sec < t0 + 60, "mtime %lld", (long long)mtime.tv_sec);

	/* a write moves the modification time forward, and close puts it on disk */
	set_clock(t0 + 100);
	zassert_equal(fs_write(&file, "abc", 3), 3);
	zassert_ok(fs_close(&file));
	stat_times(TS_FILE, &atime, &mtime);
	zassert_true(mtime.tv_sec >= t0 + 100, "mtime %lld", (long long)mtime.tv_sec);

	/* explicit times are stored as given and reported by stat and readdir alike */
	zassert_ok(fs_utime(TS_FILE, times));
	stat_times(TS_FILE, &atime, &mtime);
	zassert_equal(atime.tv_sec, times[0].tv_sec);
	zassert_equal(mtime.tv_sec, times[1].tv_sec);

	fs_dir_t_init(&dir);
	zassert_ok(fs_opendir(&dir, "/sml"));
	while (fs_readdir(&dir, &ent) == 0 && ent.name[0] != '\0') {
		if (strcmp(ent.name, "stamped.txt") == 0) {
			zassert_equal(ent.mtime.tv_sec, times[1].tv_sec);
			seen = true;
		}
	}
	zassert_ok(fs_closedir(&dir));
	zassert_true(seen, "readdir did not list the file");

	/* a directory is stamped at creation, and a new entry modifies it */
	set_clock(t0 + 200);
	zassert_ok(fs_mkdir(TS_DIR));
	stat_times(TS_DIR, &atime, &mtime);
	zassert_true(mtime.tv_sec >= t0 + 200, "dir mtime %lld", (long long)mtime.tv_sec);

	set_clock(t0 + 300);
	fs_file_t_init(&file);
	zassert_ok(fs_open(&file, TS_DIR "/entry", FS_O_CREATE | FS_O_WRITE));
	zassert_ok(fs_close(&file));
	stat_times(TS_DIR, &atime, &mtime);
	zassert_true(mtime.tv_sec >= t0 + 300, "dir mtime %lld", (long long)mtime.tv_sec);

	/* the times survive a remount */
	zassert_ok(fs_unmount(&testfs_mnt));
	zassert_ok(fs_mount(&testfs_mnt));
	stat_times(TS_FILE, &atime, &mtime);
	zassert_equal(atime.tv_sec, times[0].tv_sec);
	zassert_equal(mtime.tv_sec, times[1].tv_sec);

	zassert_ok(fs_utime(TS_FILE, NULL));
	stat_times(TS_FILE, &atime, &mtime);
	zassert_true(mtime.tv_sec >= t0 + 300, "mtime %lld", (long long)mtime.tv_sec);

	zassert_equal(fs_utime("/sml/nope", times), -ENOENT);
#else
	ztest_test_skip();
#endif /* CONFIG_FS_DIRENT_EXT */
}
```

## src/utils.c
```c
/*
 * Copyright (c) 2023 Antmicro
 *
 * SPDX-License-Identifier: Apache-2.0
 */

#include <zephyr/ztest.h>
#include <zephyr/fs/fs.h>
#include <zephyr/storage/disk_access.h>

#include "utils.h"

static int sectors_info(const char *disk, uint32_t *ss, uint32_t *sc)
{
	int rc;

	rc = disk_access_ioctl(disk, DISK_IOCTL_GET_SECTOR_COUNT, sc);
	if (rc < 0) {
		TC_PRINT("Disk access (sector count) error: %d", rc);
		return rc;
	}

	rc = disk_access_ioctl(disk, DISK_IOCTL_GET_SECTOR_SIZE, ss);
	if (rc < 0) {
		TC_PRINT("Disk access (sector size) error: %d", rc);
		return rc;
	}

	return 0;
}

int wipe_partition(uintptr_t id)
{
	int rc;
	const char *name = (const char *)id;
	uint32_t sector_count, sector_size;

	TC_PRINT("Wiping %s\n", name);

	rc = disk_access_init(name);
	if (rc < 0) {
		return rc;
	}

	rc = sectors_info(name, &sector_size, &sector_count);
	if (rc < 0) {
		return rc;
	}

	uint8_t zeros[sector_size];

	memset(zeros, 0, sector_size);

	/* Superblock is located at offset 1024B and has size 1024B */
	uint32_t start_sector = CONFIG_EXT2_DISK_STARTING_SECTOR + 1024 / sector_size;
	uint32_t num_sectors = 1024 / sector_size + (1024 % sector_size != 0);

	for (uint32_t i = 0; i < num_sectors; i++) {
		rc = disk_access_write(name, zeros, start_sector + i, 1);
		if (rc < 0) {
			return rc;
		}
	}

	return 0;
}

size_t get_partition_size(uintptr_t id)
{
	const char *name = (const char *)id;
	uint32_t sector_count, sector_size;

	sectors_info(name, &sector_size, &sector_count);

	/* Assume that partition occupies sectors from CONFIG_EXT2_DISK_STARTING_SECTOR to last. */
	return sector_size * (sector_count - CONFIG_EXT2_DISK_STARTING_SECTOR);
}
```

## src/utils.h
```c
/*
 * Copyright (c) 2023 Antmicro
 *
 * SPDX-License-Identifier: Apache-2.0
 */

#ifndef __TESTS_FS_EXT2_UTILS_H__
#define __TESTS_FS_EXT2_UTILS_H__

extern struct fs_mount_t testfs_mnt;

int wipe_partition(uintptr_t id);
size_t get_partition_size(uintptr_t id);

#endif /* __TESTS_FS_EXT2_UTILS_H__ */
```
